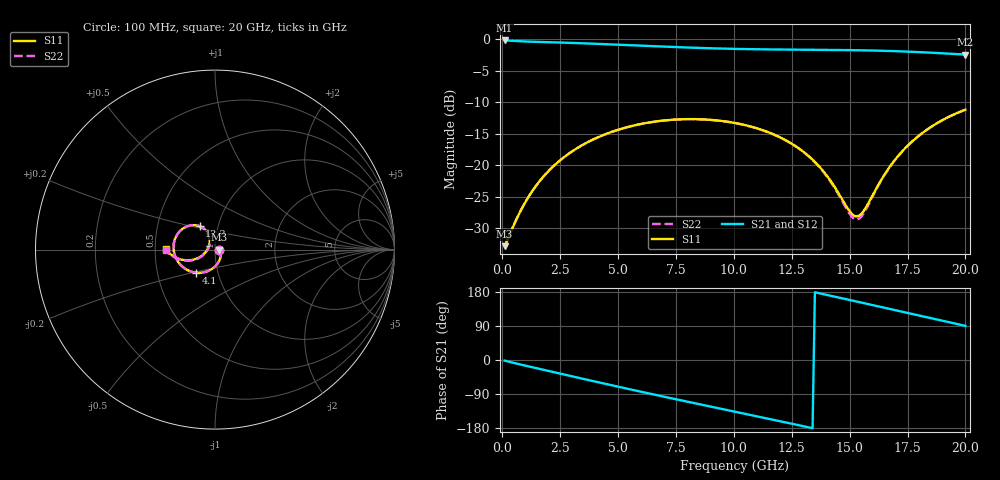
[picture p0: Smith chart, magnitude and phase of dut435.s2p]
! Touchstone file exported from HFSS 2026.1.0
!  File:  C:/ffzhzh/LocalFiles/Ansys_Project_Files/temp_train_TSV_RDL_435_1783097738_46604.aedt
!  Generated:  01:05:00 AM Jul  4, 2026
!  Design:  TSV_RDL
!  Project:  temp_train_TSV_RDL_435_1783097738_46604
! Variables:
!  h_bsmrdl = 3.31um
!  h_ox = 20um
!  h_rdl = 5um
!  h_sub = 52.39um
!  h_tmrdl = 2.57um
!  h_tsv = 52.39um
!  h_via = 3um
!  l_bsmrdl = 966.89um
!  l_sub = 4289.55um
!  l_tmrdl = 216.56um
!  m_sub = 200um
!  pitch = 26.04um
!  r_tsv = 5.28um
!  s_tmrdl = 10um
!  w_bsmrdl = 24.87um
!  w_sub = 500um
!  w_tmrdl = 16.01um
!  x_tsv_center1 = 224.565um
!  x_tsv_center2 = 1216.325um
!  x_tsv_center3 = 1448.895um
!  x_tsv_center4 = 2440.655um
!  x_tsv_center5 = 2673.225um
!  x_tsv_center6 = 3664.985um
# GHz S MA R 50.000000
! Terminal data exported
! Port[1] = TM_RDL1_1_T1
! Port[2] = TM_RDL5_1_T1
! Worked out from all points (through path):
!   200 points, 100 MHz to 20 GHz, reference 50 ohm
!   highest |S21| = -0.20 dB at 100 MHz (marker M1); lowest = -2.4 dB at 20 GHz (marker M2)
!   group delay of S21, straight-line fit = 37 ps
!   lowest |S11| = -32.9 dB at 100 MHz (marker M3), VSWR 1.05, Z = 52.3 - j0.065 ohm
!   |S11| at or under -10 dB: start of sweep to end of sweep
!   |S22| runs from -32.9 to -11.2 dB; largest |S21 - S12| = 2.3e-11
!   S11 on the Smith chart (normalised r, x): 100 MHz: 1.05, -0.00; 4.1 GHz: 0.79, -0.21; 12.3 GHz: 0.82, +0.22; 20 GHz: 0.57, +0.00
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0.1  0.02274 -1.6  0.9773 -1.7  0.9773 -1.7  0.02274 -1.6
! Gamma 0 0 0 0
! Port Impedance 50 0 50 0
0.8  0.04373 -42.9  0.962 -12.1  0.962 -12.1  0.04373 -42.9
1.5  0.07033 -72.6  0.9524 -22.0  0.9524 -22.0  0.0703 -72.6
2.4  0.1056 -96.9  0.9419 -34.6  0.9419 -34.6  0.1055 -96.9
3.5  0.1459 -118.7  0.9276 -49.9  0.9276 -49.9  0.1458 -118.7
4.1  0.1655 -129.0  0.9187 -58.2  0.9187 -58.2  0.1654 -129.1
5.4  0.2004 -149.4  0.898 -75.8  0.898 -75.8  0.2003 -149.5
6.8  0.2243 -169.5  0.8757 -94.4  0.8757 -94.4  0.2241 -169.6
8.4  0.2318 169.1  0.8537 -115.3  0.8537 -115.3  0.2316 168.9
10.1  0.2153 147.8  0.8373 -137.1  0.8373 -137.1  0.215 147.6
11.2  0.1908 135.0  0.8308 -151.2  0.8308 -151.2  0.1904 134.6
12.3  0.1556 123.4  0.8268 -165.5  0.8268 -165.5  0.155 122.9
13.4  0.1106 115.2  0.8242 -180.0  0.8242 -180.0  0.1098 114.4
14.1  0.07867 115.0  0.8224 170.6  0.8224 170.6  0.07756 114.0
15  0.04306 138.6  0.8191 158.4  0.8191 158.4  0.04111 137.8
15.3  0.03914 159.0  0.8176 154.3  0.8176 154.3  0.03706 159.4
15.6  0.0431 180.0  0.8158 150.2  0.8158 150.2  0.04128 -178.5
16.7  0.09519 -153.8  0.8065 135.1  0.8065 135.1  0.09449 -152.4
17.3  0.1305 -154.9  0.7995 126.8  0.7995 126.8  0.13 -153.9
18.1  0.1776 -160.7  0.7882 115.8  0.7882 115.8  0.1773 -159.9
19  0.2274 -169.5  0.7732 103.5  0.7732 103.5  0.2272 -168.8
20  0.2756 179.8  0.755 90.1  0.755 90.1  0.2754 -179.7
